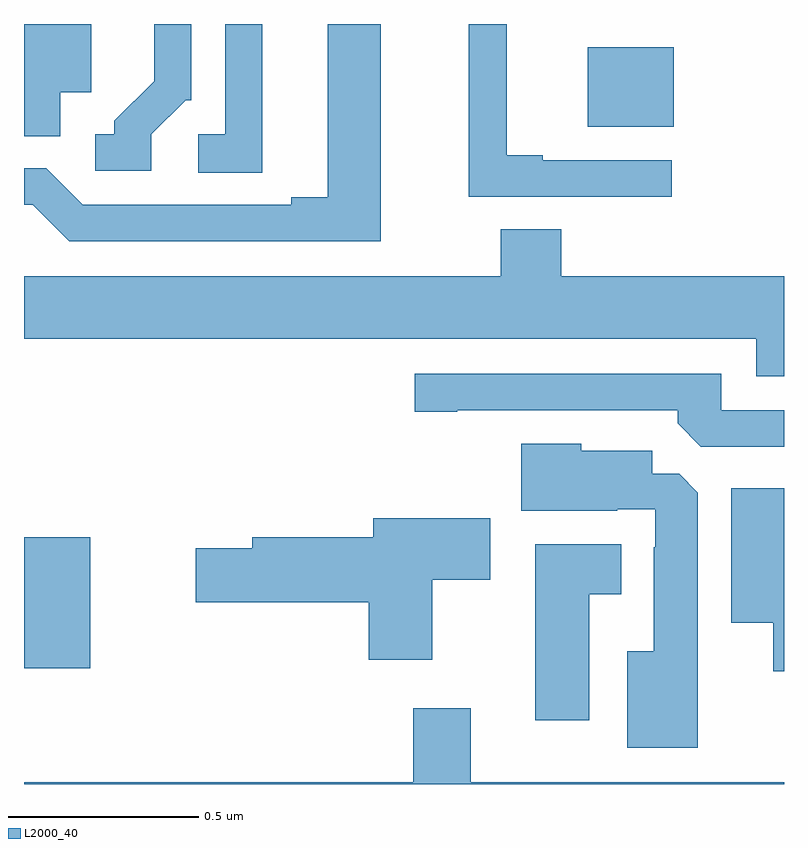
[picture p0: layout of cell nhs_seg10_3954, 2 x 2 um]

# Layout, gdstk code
import gdstk
lib = gdstk.Library(unit=1e-6, precision=1e-09)
def R(c, l, rs):  # rectangles x0, y0, x1, y1
    for r in rs: c.add(gdstk.rectangle(r[:2], r[2:], *l))
def P(c, l, *ps):  # polygons
    for p in ps: c.add(gdstk.Polygon(p, *l))
L2000_40 = (2000, 40)

nhs_seg10_3954 = lib.new_cell('nhs_seg10_3954')
R(nhs_seg10_3954, L2000_40, [(160,1276.805,160.174,1277.149), (161.483,1278.23,161.71,1278.439)])
P(nhs_seg10_3954, L2000_40, [(160.335,1278.21),(160.425,1278.3),(160.44,1278.3),(160.44,1278.5),(160.343,1278.5),(160.343,1278.35),(160.238,1278.245),(160.238,1278.21),(160.188,1278.21),(160.188,1278.114),(160.335,1278.114)],
  [(160.939,1278.5),(160.799,1278.5),(160.799,1278.044),(160.703,1278.044),(160.703,1278.024),(160.155,1278.024),(160.059,1278.12),(160,1278.12),(160,1278.024),(160.023,1278.024),(160.119,1277.928),(160.939,1277.928)],
  [(161.704,1278.141),(161.365,1278.141),(161.365,1278.154),(161.27,1278.154),(161.27,1278.5),(161.17,1278.5),(161.17,1278.045),(161.704,1278.045)],
  [(160.627,1278.5),(160.53,1278.5),(160.53,1278.21),(160.458,1278.21),(160.458,1278.109),(160.627,1278.109)],
  [(160.096,1278.32),(160.177,1278.32),(160.177,1278.5),(160,1278.5),(160,1278.205),(160.096,1278.205)],
  [(162,1277.836),(161.414,1277.836),(161.414,1277.96),(161.254,1277.96),(161.254,1277.836),(160,1277.836),(160,1277.672),(161.927,1277.672),(161.927,1277.573),(162,1277.573)],
  [(162,1277.484),(161.835,1277.484),(161.835,1277.58),(161.028,1277.58),(161.028,1277.479),(161.14,1277.479),(161.14,1277.484),(161.72,1277.484),(161.72,1277.45),(161.781,1277.388),(162,1277.388)],
  [(161.773,1277.267),(161.724,1277.316),(161.653,1277.316),(161.653,1277.377),(161.466,1277.377),(161.466,1277.395),(161.309,1277.395),(161.309,1277.219),(161.561,1277.219),(161.561,1277.223),(161.661,1277.223),(161.661,1277.123),(161.657,1277.123),(161.657,1276.849),(161.588,1276.849),(161.588,1276.595),(161.773,1276.595)],
  [(162,1277.278),(161.861,1277.278),(161.861,1276.925),(161.972,1276.925),(161.972,1276.797),(162,1276.797)],
  [(161.074,1277.038),(161.227,1277.038),(161.227,1277.2),(160.919,1277.2),(160.919,1277.15),(160.601,1277.15),(160.601,1277.12),(160.452,1277.12),(160.452,1276.978),(160.907,1276.978),(160.907,1276.827),(161.074,1276.827)],
  [(161.488,1277),(161.572,1277),(161.572,1277.131),(161.345,1277.131),(161.345,1276.668),(161.488,1276.668)],
  [(162,1276.504),(161.176,1276.504),(161.176,1276.699),(161.024,1276.699),(161.024,1276.504),(160,1276.504),(160,1276.5),(162,1276.5)])

lib.write_gds('nhs_seg10_3954.gds')
